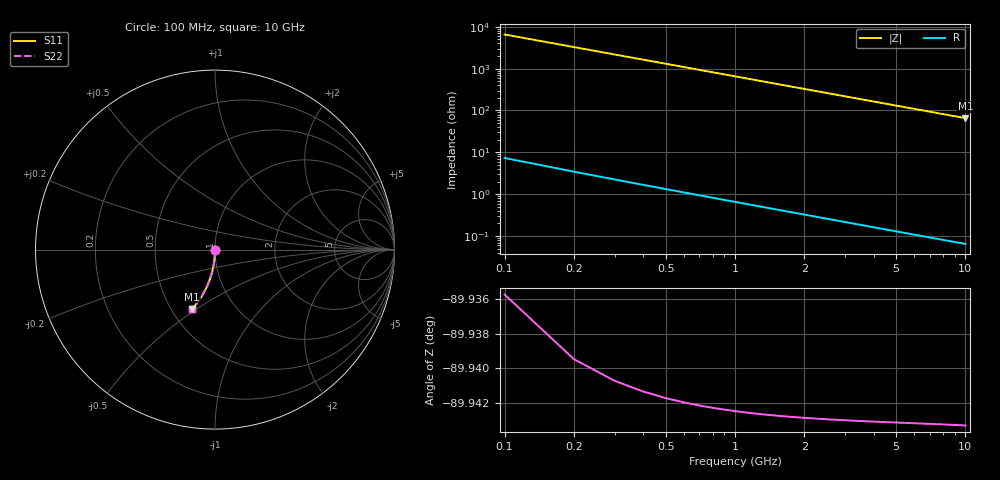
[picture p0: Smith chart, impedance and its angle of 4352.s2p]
# Hz S RI R 50.00
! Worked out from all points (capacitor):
!   100 points, 100 MHz to 10 GHz, reference 50 ohm
!   read as one part in shunt: C = 243 fF near 100 MHz
!   lowest |Z| = 65.7 ohm at 10 GHz (marker M1)
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1e8  -6.56e-06 -0.0038  1 -0.00384  1 -0.00384  -6.56e-06 -0.0038
2e8  -5.41e-05 -0.0076  0.9999 -0.00768  0.9999 -0.00768  -5.41e-05 -0.0076
3e8  -0.000131 -0.0114  0.9998 -0.0115  0.9998 -0.0115  -0.000131 -0.0114
4e8  -0.000237 -0.0152  0.9997 -0.0154  0.9997 -0.0154  -0.000237 -0.0152
5e8  -0.000372 -0.019  0.9996 -0.0192  0.9996 -0.0192  -0.000372 -0.019
6e8  -0.000536 -0.0228  0.9994 -0.023  0.9994 -0.023  -0.000536 -0.0228
7e8  -0.000729 -0.0266  0.9992 -0.0269  0.9992 -0.0269  -0.000729 -0.0266
8e8  -0.000952 -0.0304  0.999 -0.0307  0.999 -0.0307  -0.000952 -0.0304
9e8  -0.0012 -0.0342  0.9988 -0.0345  0.9988 -0.0345  -0.0012 -0.0342
1.1e9  -0.00179 -0.0417  0.9982 -0.0422  0.9982 -0.0422  -0.00179 -0.0417
1.4e9  -0.00289 -0.053  0.9971 -0.0536  0.9971 -0.0536  -0.00289 -0.053
1.8e9  -0.00476 -0.0681  0.9952 -0.0688  0.9952 -0.0688  -0.00476 -0.0681
2.1e9  -0.00646 -0.0793  0.9935 -0.0801  0.9935 -0.0801  -0.00646 -0.0793
2.5e9  -0.00912 -0.0941  0.9909 -0.0951  0.9909 -0.0951  -0.00912 -0.0941
2.9e9  -0.0122 -0.1088  0.9878 -0.11  0.9878 -0.11  -0.0122 -0.1088
3.4e9  -0.0167 -0.127  0.9833 -0.1284  0.9833 -0.1284  -0.0167 -0.127
4.2e9  -0.0252 -0.1554  0.9748 -0.1572  0.9748 -0.1572  -0.0252 -0.1554
5.1e9  -0.0367 -0.1864  0.9633 -0.1886  0.9633 -0.1886  -0.0367 -0.1864
5.9e9  -0.0484 -0.213  0.9515 -0.2154  0.9515 -0.2154  -0.0484 -0.213
6.7e9  -0.0615 -0.2384  0.9384 -0.2412  0.9384 -0.2412  -0.0615 -0.2384
8.4e9  -0.0933 -0.2886  0.9067 -0.2921  0.9067 -0.2921  -0.0933 -0.2886
1e10  -0.127 -0.3304  0.8729 -0.3347  0.8729 -0.3347  -0.127 -0.3304
